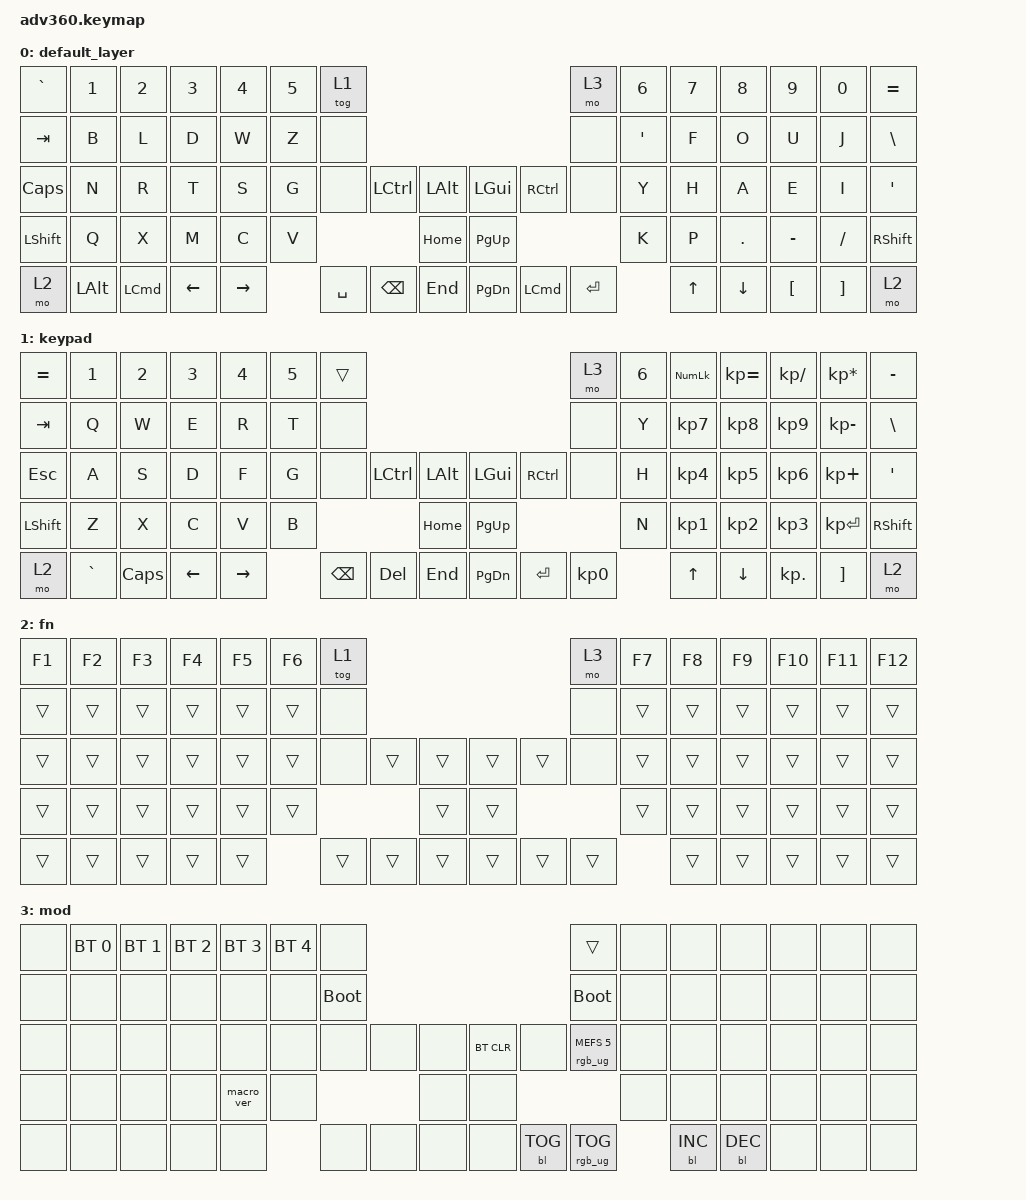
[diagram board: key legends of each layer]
#include <behaviors.dtsi>
#include <dt-bindings/zmk/backlight.h>
#include <dt-bindings/zmk/bt.h>
#include <dt-bindings/zmk/keys.h>
#include <dt-bindings/zmk/rgb.h>

/ {
    behaviors {
        #include "macros.dtsi"
      #include "version.dtsi"
      #ifndef VERSION_MACRO

        macro_ver: macro_ver {
            compatible = "zmk,behavior-macro";
            label = "macro_version";
            #binding-cells = <0>;
            bindings = <&kp RET>;
        };

        #endif

        hm: homerow_mods {
            compatible = "zmk,behavior-hold-tap";
            label = "HOMEROW_MODS";
            #binding-cells = <2>;
            tapping-term-ms = <200>;
            quick_tap_ms = <175>;
            flavor = "tap-preferred";
            bindings = <&kp>, <&kp>;
        };
    };

    macros {
    };

    keymap {
        compatible = "zmk,keymap";

        default_layer {
            bindings = <
&kp GRAVE  &kp N1        &kp N2    &kp N3    &kp N4     &kp N5  &tog 1                                                        &mo 3    &kp N6            &kp N7  &kp N8      &kp N9     &kp N0    &kp EQUAL
&kp TAB    &kp B         &kp L     &kp D     &kp W      &kp Z   &none                                                         &none    &kp SINGLE_QUOTE  &kp F   &kp O       &kp U      &kp J     &kp BSLH
&kp CAPS   &kp N         &kp R     &kp T     &kp S      &kp G   &none      &kp LCTRL      &kp LALT      &kp LGUI   &kp RCTRL  &none    &kp Y             &kp H   &kp A       &kp E      &kp I     &kp SQT
&kp LSHFT  &kp Q         &kp X     &kp M     &kp C      &kp V                             &kp HOME      &kp PG_UP                      &kp K             &kp P   &kp PERIOD  &kp MINUS  &kp FSLH  &kp RSHFT
&mo 2      &kp LEFT_ALT  &kp LCMD  &kp LEFT  &kp RIGHT          &kp SPACE  &kp BACKSPACE  &kp END       &kp PG_DN  &kp LCMD   &kp RET                    &kp UP  &kp DOWN    &kp LBKT   &kp RBKT  &mo 2
            >;
        };

        keypad {
            bindings = <
&kp EQUAL  &kp N1     &kp N2    &kp N3    &kp N4     &kp N5  &trans                                                   &mo 3      &kp N6  &kp KP_NUM  &kp KP_EQUAL  &kp KP_DIVIDE  &kp KP_MULTIPLY  &kp MINUS
&kp TAB    &kp Q      &kp W     &kp E     &kp R      &kp T   &none                                                    &none      &kp Y   &kp KP_N7   &kp KP_N8     &kp KP_N9      &kp KP_MINUS     &kp BSLH
&kp ESC    &kp A      &kp S     &kp D     &kp F      &kp G   &none     &kp LCTRL  &kp LALT      &kp LGUI   &kp RCTRL  &none      &kp H   &kp KP_N4   &kp KP_N5     &kp KP_N6      &kp KP_PLUS      &kp SQT
&kp LSHFT  &kp Z      &kp X     &kp C     &kp V      &kp B                        &kp HOME      &kp PG_UP                        &kp N   &kp KP_N1   &kp KP_N2     &kp KP_N3      &kp KP_ENTER     &kp RSHFT
&mo 2      &kp GRAVE  &kp CAPS  &kp LEFT  &kp RIGHT          &kp BSPC  &kp DEL    &kp END       &kp PG_DN  &kp ENTER  &kp KP_N0          &kp UP      &kp DOWN      &kp KP_DOT     &kp RBKT         &mo 2
            >;
        };

        fn {
            bindings = <
&kp F1  &kp F2  &kp F3  &kp F4  &kp F5  &kp F6  &tog 1                                      &mo 3   &kp F7  &kp F8  &kp F9  &kp F10  &kp F11  &kp F12
&trans  &trans  &trans  &trans  &trans  &trans  &none                                       &none   &trans  &trans  &trans  &trans   &trans   &trans
&trans  &trans  &trans  &trans  &trans  &trans  &none   &trans  &trans      &trans  &trans  &none   &trans  &trans  &trans  &trans   &trans   &trans
&trans  &trans  &trans  &trans  &trans  &trans                  &trans      &trans                  &trans  &trans  &trans  &trans   &trans   &trans
&trans  &trans  &trans  &trans  &trans          &trans  &trans  &trans      &trans  &trans  &trans          &trans  &trans  &trans   &trans   &trans
            >;
        };

        mod {
            bindings = <
&none  &bt BT_SEL 0  &bt BT_SEL 1  &bt BT_SEL 2  &bt BT_SEL 3  &bt BT_SEL 4  &none                                                  &trans                  &none  &none       &none       &none  &none  &none
&none  &none         &none         &none         &none         &none         &bootloader                                            &bootloader             &none  &none       &none       &none  &none  &none
&none  &none         &none         &none         &none         &none         &none        &none  &none      &bt BT_CLR  &none       &rgb_ug RGB_MEFS_CMD 5  &none  &none       &none       &none  &none  &none
&none  &none         &none         &none         &macro_ver    &none                             &none      &none                                           &none  &none       &none       &none  &none  &none
&none  &none         &none         &none         &none                       &none        &none  &none      &none       &bl BL_TOG  &rgb_ug RGB_TOG                &bl BL_INC  &bl BL_DEC  &none  &none  &none
            >;
        };
    };
};
